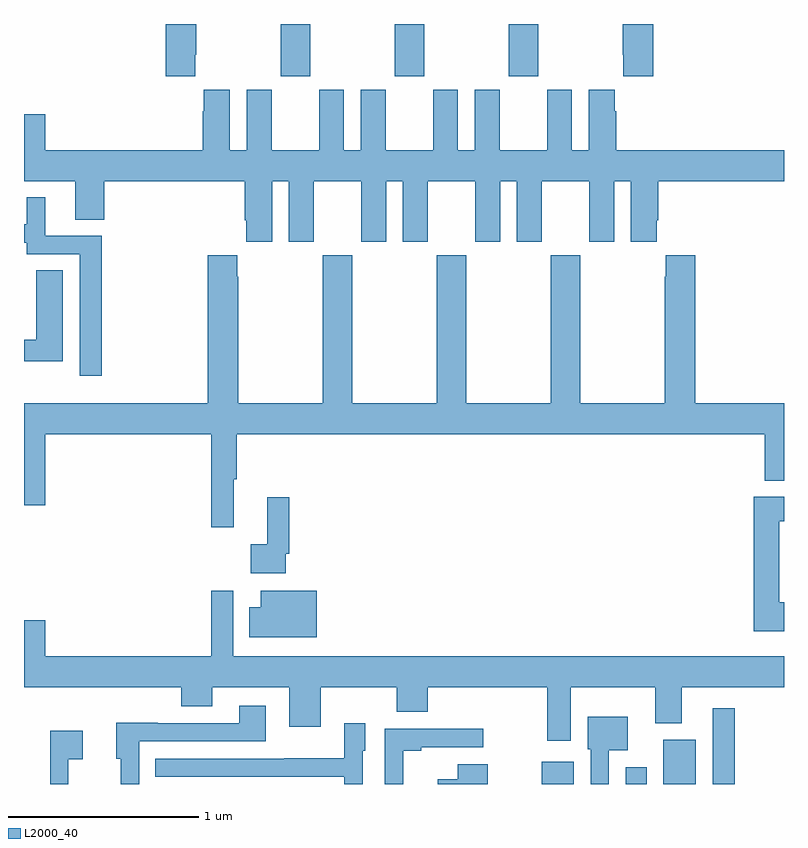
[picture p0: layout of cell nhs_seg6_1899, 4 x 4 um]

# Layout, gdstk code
import gdstk
lib = gdstk.Library(unit=1e-6, precision=1e-09)
def R(c, l, rs):  # rectangles x0, y0, x1, y1
    for r in rs: c.add(gdstk.rectangle(r[:2], r[2:], *l))
def A(c, l, x, y, w, h, nx, ny, dx, dy):  # array of equal rectangles
    R(c, l, [(x+i*dx, y+j*dy, x+i*dx+w, y+j*dy+h) for i in range(nx) for j in range(ny)])
def P(c, l, *ps):  # polygons
    for p in ps: c.add(gdstk.Polygon(p, *l))
L2000_40 = (2000, 40)

nhs_seg6_1899 = lib.new_cell('nhs_seg6_1899')
A(nhs_seg6_1899, L2000_40, 226.351, 945.225, 0.155, 0.275, 3, 1, 0.6, 0)
R(nhs_seg6_1899, L2000_40, [(227.726,941.5,227.893,941.617), (228.167,941.5,228.277,941.587), (228.365,941.5,228.535,941.734), (228.624,941.5,228.74,941.899)])
P(nhs_seg6_1899, L2000_40, [(225.901,945.337),(225.906,945.337),(225.906,945.5),(225.746,945.5),(225.746,945.225),(225.901,945.225)],
  [(228.311,945.5),(228.151,945.5),(228.151,945.337),(228.155,945.337),(228.155,945.225),(228.311,945.225)],
  [(228.116,945.041),(228.109,945.041),(228.109,945.154),(227.972,945.154),(227.972,944.836),(227.884,944.836),(227.884,945.154),(227.753,945.154),(227.753,944.836),(227.503,944.836),(227.503,945.154),(227.372,945.154),(227.372,944.836),(227.284,944.836),(227.284,945.154),(227.153,945.154),(227.153,944.836),(226.903,944.836),(226.903,945.154),(226.772,945.154),(226.772,944.836),(226.684,944.836),(226.684,945.154),(226.553,945.154),(226.553,944.836),(226.303,944.836),(226.303,945.154),(226.172,945.154),(226.172,944.836),(226.084,944.836),(226.084,945.154),(225.947,945.154),(225.947,945.041),(225.941,945.041),(225.941,944.836),(225.112,944.836),(225.112,945.025),(225,945.025),(225,944.672),(225.269,944.672),(225.269,944.47),(225.422,944.47),(225.422,944.672),(226.163,944.672),(226.163,944.467),(226.169,944.467),(226.169,944.355),(226.306,944.355),(226.306,944.672),(226.394,944.672),(226.394,944.355),(226.525,944.355),(226.525,944.672),(226.775,944.672),(226.775,944.355),(226.906,944.355),(226.906,944.672),(226.994,944.672),(226.994,944.355),(227.125,944.355),(227.125,944.672),(227.375,944.672),(227.375,944.355),(227.506,944.355),(227.506,944.672),(227.594,944.672),(227.594,944.355),(227.725,944.355),(227.725,944.672),(227.975,944.672),(227.975,944.355),(228.106,944.355),(228.106,944.672),(228.194,944.672),(228.194,944.355),(228.331,944.355),(228.331,944.467),(228.338,944.467),(228.338,944.672),(229,944.672),(229,944.836),(228.116,944.836)],
  [(225.41,944.385),(225.112,944.385),(225.112,944.587),(225.014,944.587),(225.014,944.445),(225,944.445),(225,944.349),(225.015,944.349),(225.015,944.289),(225.294,944.289),(225.294,943.65),(225.41,943.65)],
  [(226.103,943.104),(226.121,943.104),(226.121,943.34),(228.899,943.34),(228.899,943.097),(229,943.097),(229,943.504),(228.533,943.504),(228.533,944.284),(228.377,944.284),(228.377,944.171),(228.373,944.171),(228.373,943.504),(227.928,943.504),(227.928,944.284),(227.773,944.284),(227.773,943.504),(227.328,943.504),(227.328,944.284),(227.173,944.284),(227.173,943.504),(226.728,943.504),(226.728,944.284),(226.573,944.284),(226.573,943.504),(226.128,943.504),(226.128,944.171),(226.123,944.171),(226.123,944.284),(225.968,944.284),(225.968,943.504),(225,943.504),(225,942.966),(225.112,942.966),(225.112,943.34),(225.985,943.34),(225.985,942.852),(226.103,942.852)],
  [(225.205,944.203),(225.065,944.203),(225.065,943.837),(225,943.837),(225,943.726),(225.205,943.726)],
  [(229,942.457),(228.976,942.457),(228.976,942.884),(229,942.884),(229,943.012),(228.842,943.012),(228.842,942.305),(229,942.305)],
  [(226.377,942.712),(226.397,942.712),(226.397,943.009),(226.28,943.009),(226.28,942.761),(226.194,942.761),(226.194,942.608),(226.377,942.608)],
  [(226.54,942.517),(226.247,942.517),(226.247,942.43),(226.186,942.43),(226.186,942.272),(226.54,942.272)],
  [(227.878,942.008),(228.323,942.008),(228.323,941.819),(228.463,941.819),(228.463,942.008),(229,942.008),(229,942.172),(226.101,942.172),(226.101,942.517),(225.985,942.517),(225.985,942.172),(225.112,942.172),(225.112,942.361),(225,942.361),(225,942.008),(225.827,942.008),(225.827,941.909),(225.991,941.909),(225.991,942.008),(226.397,942.008),(226.397,941.802),(226.561,941.802),(226.561,942.008),(226.961,942.008),(226.961,941.88),(227.125,941.88),(227.125,942.008),(227.753,942.008),(227.753,941.727),(227.878,941.727)],
  [(225.606,941.724),(226.273,941.724),(226.273,941.911),(226.133,941.911),(226.133,941.82),(225.703,941.82),(225.703,941.822),(225.485,941.822),(225.485,941.634),(225.51,941.634),(225.51,941.5),(225.606,941.5)],
  [(228.078,941.678),(228.178,941.678),(228.178,941.854),(227.966,941.854),(227.966,941.682),(227.982,941.682),(227.982,941.5),(228.078,941.5)],
  [(226.782,941.676),(226.795,941.676),(226.795,941.821),(226.686,941.821),(226.686,941.635),(226.369,941.635),(226.369,941.634),(225.691,941.634),(225.691,941.538),(226.686,941.538),(226.686,941.5),(226.782,941.5)],
  [(226.997,941.674),(227.092,941.674),(227.092,941.694),(227.416,941.694),(227.416,941.79),(226.899,941.79),(226.899,941.5),(226.997,941.5)],
  [(225.234,941.63),(225.31,941.63),(225.31,941.779),(225.137,941.779),(225.137,941.5),(225.234,941.5)],
  [(227.44,941.605),(227.282,941.605),(227.282,941.524),(227.177,941.524),(227.177,941.5),(227.44,941.5)])

lib.write_gds('nhs_seg6_1899.gds')
